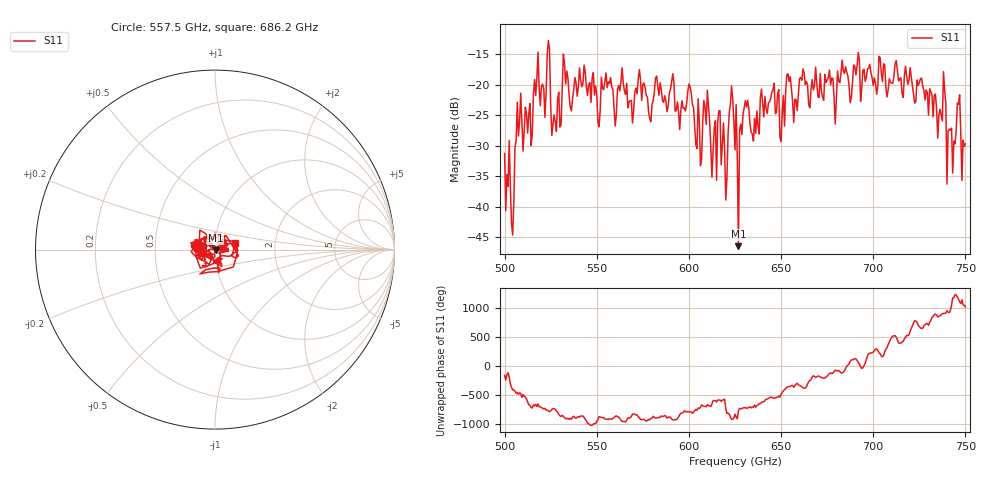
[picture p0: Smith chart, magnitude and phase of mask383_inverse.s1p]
!Created with skrf (http://scikit-rf.org).
# GHz S MA R 50.0
!freq magS11 angS11
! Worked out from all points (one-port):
!   401 points, 500 GHz to 750 GHz, reference 50 ohm
!   lowest |S11| = -46.5 dB at 626.9 GHz (marker M1), VSWR 1.01, Z = 50.3 - j0.373 ohm
!   |S11| at or under -10 dB: start of sweep to end of sweep
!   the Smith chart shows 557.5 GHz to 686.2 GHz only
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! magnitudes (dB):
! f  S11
! 500 GHz  -31.2
! 504.4 GHz  -44.6
! 507.5 GHz  -28.4
! 513.8 GHz  -23.1
! 516.9 GHz  -21.8
! 523.8 GHz  -12.7
! 526.9 GHz  -25.0
! 531.2 GHz  -20.8
! 562.5 GHz  -21.0
! 579.4 GHz  -26.1
! 590.6 GHz  -19.5
! 593.8 GHz  -22.8
! 600.6 GHz  -20.3
! 605.6 GHz  -25.9
! 609.4 GHz  -26.5
! 619.4 GHz  -30.6
! 622.5 GHz  -23.2
! 625 GHz  -30.7
! 626.9 GHz  -46.5
! 630.6 GHz  -22.6
! 635 GHz  -29.2
! 640 GHz  -22.9
! 650.6 GHz  -24.6
! 656.2 GHz  -22.7
! 687.5 GHz  -23.0
! 691.2 GHz  -16.9
! 718.8 GHz  -19.9
! 750 GHz  -29.7
